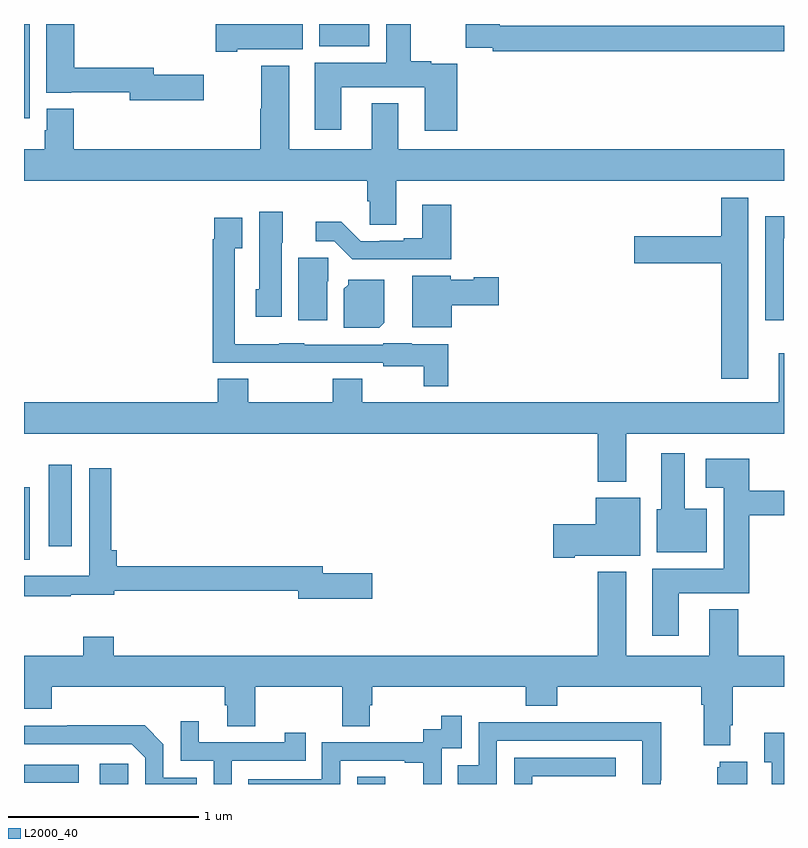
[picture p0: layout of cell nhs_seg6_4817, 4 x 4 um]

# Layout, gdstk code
import gdstk
lib = gdstk.Library(unit=1e-6, precision=1e-09)
def R(c, l, rs):  # rectangles x0, y0, x1, y1
    for r in rs: c.add(gdstk.rectangle(r[:2], r[2:], *l))
def P(c, l, *ps):  # polygons
    for p in ps: c.add(gdstk.Polygon(p, *l))
L2000_40 = (2000, 40)

nhs_seg6_4817 = lib.new_cell('nhs_seg6_4817')
R(nhs_seg6_4817, L2000_40, [(397.398,937.5,397.548,937.606), (398.754,937.5,398.902,937.537), (397,937.506,397.288,937.602), (397,938.68,397.03,939.061), (397.13,938.751,397.252,939.181), (397,941.004,397.03,941.5), (398.555,941.384,398.818,941.5)])
P(nhs_seg6_4817, L2000_40, [(398.122,941.366),(398.467,941.366),(398.467,941.5),(398.01,941.5),(398.01,941.354),(398.122,941.354)],
  [(399.281,941.29),(399.144,941.29),(399.144,941.303),(399.036,941.303),(399.036,941.5),(398.906,941.5),(398.906,941.296),(398.531,941.296),(398.531,940.944),(398.671,940.944),(398.671,941.168),(399.11,941.168),(399.11,940.938),(399.281,940.938)],
  [(397.945,941.234),(397.684,941.234),(397.684,941.27),(397.265,941.27),(397.265,941.5),(397.118,941.5),(397.118,941.138),(397.248,941.138),(397.248,941.142),(397.556,941.142),(397.556,941.099),(397.945,941.099)],
  [(401,941.492),(399.503,941.492),(399.503,941.5),(399.325,941.5),(399.325,941.376),(399.466,941.376),(399.466,941.356),(401,941.356)],
  [(398.959,940.676),(401,940.676),(401,940.84),(398.971,940.84),(398.971,941.083),(398.831,941.083),(398.831,940.84),(398.395,940.84),(398.395,941.281),(398.248,941.281),(398.248,941.055),(398.243,941.055),(398.243,940.84),(397.262,940.84),(397.262,941.053),(397.121,941.053),(397.121,940.941),(397.109,940.941),(397.109,940.84),(397,940.84),(397,940.676),(398.807,940.676),(398.807,940.566),(398.82,940.566),(398.82,940.444),(398.959,940.444)],
  [(400.813,940.585),(400.67,940.585),(400.67,940.383),(400.212,940.383),(400.212,940.241),(400.67,940.241),(400.67,939.633),(400.813,939.633)],
  [(399.248,940.549),(399.095,940.549),(399.095,940.372),(398.999,940.372),(398.999,940.359),(398.872,940.359),(398.872,940.356),(398.772,940.356),(398.67,940.459),(398.535,940.459),(398.535,940.356),(398.634,940.356),(398.728,940.262),(399.248,940.262)],
  [(398.356,940.35),(398.362,940.35),(398.362,940.513),(398.237,940.513),(398.237,940.104),(398.219,940.104),(398.219,939.96),(398.356,939.96)],
  [(400.998,940.372),(401,940.372),(401,940.488),(400.902,940.488),(400.902,939.942),(400.998,939.942)],
  [(399.233,939.814),(399.042,939.814),(399.042,939.82),(398.892,939.82),(398.892,939.813),(398.475,939.813),(398.475,939.82),(398.343,939.82),(398.343,939.814),(398.109,939.814),(398.109,940.319),(398.149,940.319),(398.149,940.48),(398.001,940.48),(398.001,940.367),(397.993,940.367),(397.993,939.717),(398.243,939.717),(398.243,939.716),(398.475,939.716),(398.475,939.717),(398.892,939.717),(398.892,939.698),(399.105,939.698),(399.105,939.593),(399.233,939.593)],
  [(398.596,940.146),(398.6,940.146),(398.6,940.269),(398.444,940.269),(398.444,939.942),(398.596,939.942)],
  [(399.25,940.019),(399.499,940.019),(399.499,940.166),(399.366,940.166),(399.366,940.153),(399.246,940.153),(399.246,940.174),(399.044,940.174),(399.044,939.905),(399.25,939.905)],
  [(398.896,939.928),(398.896,940.153),(398.706,940.153),(398.706,940.128),(398.684,940.106),(398.684,939.902),(398.87,939.902)],
  [(400.171,939.344),(401,939.344),(401,939.766),(400.973,939.766),(400.973,939.508),(398.781,939.508),(398.781,939.632),(398.626,939.632),(398.626,939.508),(398.181,939.508),(398.181,939.632),(398.021,939.632),(398.021,939.508),(397,939.508),(397,939.344),(400.019,939.344),(400.019,939.092),(400.171,939.092)],
  [(400.594,938.95),(400.477,938.95),(400.477,939.241),(400.355,939.241),(400.355,938.946),(400.331,938.946),(400.331,938.72),(400.594,938.72)],
  [(400.447,938.504),(400.817,938.504),(400.817,938.914),(401,938.914),(401,939.043),(400.817,939.043),(400.817,939.211),(400.587,939.211),(400.587,939.059),(400.682,939.059),(400.682,938.632),(400.307,938.632),(400.307,938.28),(400.447,938.28)],
  [(398.833,938.609),(398.572,938.609),(398.572,938.645),(397.487,938.645),(397.487,938.731),(397.46,938.731),(397.46,939.163),(397.344,939.163),(397.344,938.596),(397.134,938.596),(397.134,938.595),(397,938.595),(397,938.487),(397.247,938.487),(397.247,938.497),(397.474,938.497),(397.474,938.517),(398.444,938.517),(398.444,938.474),(398.833,938.474)],
  [(399.898,938.702),(400.243,938.702),(400.243,939.007),(400.01,939.007),(400.01,938.868),(399.786,938.868),(399.786,938.69),(399.898,938.69)],
  [(400.717,937.81),(400.73,937.81),(400.73,938.012),(401,938.012),(401,938.176),(400.76,938.176),(400.76,938.419),(400.607,938.419),(400.607,938.176),(400.171,938.176),(400.171,938.617),(400.019,938.617),(400.019,938.176),(397.472,938.176),(397.472,938.275),(397.312,938.275),(397.312,938.176),(397,938.176),(397,937.895),(397.145,937.895),(397.145,938.012),(398.057,938.012),(398.057,937.914),(398.069,937.914),(398.069,937.804),(398.217,937.804),(398.217,938.012),(398.674,938.012),(398.674,937.804),(398.821,937.804),(398.821,937.914),(398.834,937.914),(398.834,938.012),(399.641,938.012),(399.641,937.913),(399.806,937.913),(399.806,938.012),(400.565,938.012),(400.565,937.916),(400.577,937.916),(400.577,937.703),(400.717,937.703)],
  [(398.664,937.623),(399.005,937.623),(399.005,937.611),(399.101,937.611),(399.101,937.5),(399.198,937.5),(399.198,937.689),(399.303,937.689),(399.303,937.858),(399.195,937.858),(399.195,937.788),(399.102,937.788),(399.102,937.719),(398.568,937.719),(398.568,937.524),(398.179,937.524),(398.179,937.5),(398.664,937.5)],
  [(398.094,937.623),(398.483,937.623),(398.483,937.771),(398.372,937.771),(398.372,937.719),(397.921,937.719),(397.921,937.831),(397.824,937.831),(397.824,937.623),(397.998,937.623),(397.998,937.5),(398.094,937.5)],
  [(399.489,937.728),(400.253,937.728),(400.253,937.5),(400.35,937.5),(400.35,937.519),(400.353,937.519),(400.353,937.826),(399.889,937.826),(399.889,937.824),(399.393,937.824),(399.393,937.599),(399.283,937.599),(399.283,937.5),(399.489,937.5)],
  [(397.908,937.533),(397.734,937.533),(397.734,937.71),(397.636,937.808),(397.228,937.808),(397.228,937.806),(397,937.806),(397,937.71),(397.566,937.71),(397.638,937.638),(397.638,937.5),(397.908,937.5)],
  [(401,937.771),(400.895,937.771),(400.895,937.615),(400.935,937.615),(400.935,937.5),(401,937.5)],
  [(399.675,937.542),(400.114,937.542),(400.114,937.638),(399.579,937.638),(399.579,937.5),(399.675,937.5)],
  [(400.807,937.618),(400.661,937.618),(400.661,937.587),(400.649,937.587),(400.649,937.5),(400.807,937.5)])

lib.write_gds('nhs_seg6_4817.gds')
